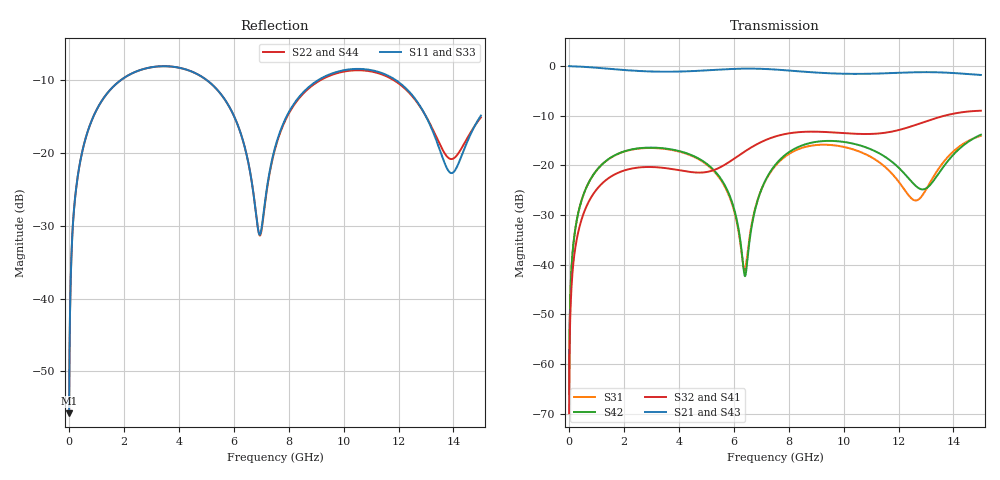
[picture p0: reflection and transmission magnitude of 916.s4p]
! Created with skrf 1.8.0 (http://scikit-rf.org).
# GHz S RI R 50.0
!freq ReS11 ImS11 ReS12 ImS12 ReS13 ImS13
! ReS14 ImS14
! ReS21 ImS21 ReS22 ImS22 ReS23 ImS23
! ReS24 ImS24
! ReS31 ImS31 ReS32 ImS32 ReS33 ImS33
! ReS34 ImS34
! ReS41 ImS41 ReS42 ImS42 ReS43 ImS43
! ReS44 ImS44
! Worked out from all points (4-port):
!   2499 points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, 5 MHz to 15 GHz, reference 50 ohm
!   strongest paths, dB at 5 MHz, 3.476 GHz, 7.19 GHz, 11.1 GHz, 15 GHz:
!     S21: 0.0, -1.1, -0.6, -1.5, -1.8
!     S43: 0.0, -1.1, -0.6, -1.5, -1.8
!     S32: -69.9, -20.5, -14.8, -13.6, -9.0
!     S41: -69.9, -20.5, -14.8, -13.6, -9.0
!     S42: -66.0, -16.6, -22.6, -17.0, -13.8
!     S31: -66.0, -16.7, -22.7, -18.6, -14.0
!   lowest |S11| = -55.8 dB at 5 MHz (marker M1), VSWR 1.00, Z = 50.1 + j0.099 ohm
!   |S11| at or under -10 dB: start of sweep to 1.871 GHz; 5.035 GHz to 9.058 GHz (4.023 GHz wide, 57.1 % of centre); 11.92 GHz to end of sweep
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0.005  0.0013 0.000988  0.9987 -0.00252  6.35e-05 0.000496  -6.18e-05 -0.000313
       0.9987 -0.00252  0.0013 0.000988  -6.18e-05 -0.000313  6.35e-05 0.000496
       6.35e-05 0.000496  -6.18e-05 -0.000313  0.0013 0.000987  0.9987 -0.00252
       -6.18e-05 -0.000313  6.35e-05 0.000496  0.9987 -0.00252  0.0013 0.000987
0.4126719  0.0246 0.0849  0.966 -0.2061  0.0112 0.0387  -0.00944 -0.0241
           0.966 -0.2061  0.0246 0.0849  -0.00943 -0.0241  0.0114 0.0386
           0.0112 0.0387  -0.00943 -0.0241  0.0246 0.0849  0.966 -0.2061
           -0.00944 -0.0241  0.0114 0.0386  0.966 -0.2061  0.0246 0.0849
1.925802  0.2645 0.1833  0.5635 -0.7234  0.1203 0.062  -0.087 -0.00846
          0.5635 -0.7234  0.2639 0.1836  -0.0869 -0.00858  0.1224 0.0593
          0.1203 0.062  -0.0869 -0.00858  0.2646 0.1832  0.5635 -0.7235
          -0.087 -0.00846  0.1224 0.0593  0.5635 -0.7235  0.2639 0.1837
6.40892  0.0499 -0.0964  -0.8954 -0.2973  -0.00885 0.000143  -0.0387 0.1331
         -0.8954 -0.2973  0.0503 -0.0963  -0.0408 0.1324  -0.00765 -0.000466
         -0.00885 0.000143  -0.0408 0.1324  0.0492 -0.0978  -0.8952 -0.2973
         -0.0387 0.1331  -0.00765 -0.000466  -0.8952 -0.2973  0.0518 -0.097
6.921634  0.0274 -0.00576  -0.9383 -0.0669  -3.41e-05 0.0496  -0.00631 0.1676
          -0.9383 -0.0669  0.027 -0.00654  -0.0089 0.1675  0.00569 0.049
          -3.41e-05 0.0496  -0.0089 0.1675  0.0262 -0.00686  -0.9383 -0.0669
          -0.00631 0.1676  0.00569 0.049  -0.9383 -0.0669  0.0284 -0.00774
10.97957  0.3669 -0.0684  0.0876 0.8335  0.0964 -0.0754  0.1952 -0.0728
          0.0876 0.8335  0.3614 -0.0528  0.196 -0.0678  0.096 -0.1099
          0.0964 -0.0754  0.196 -0.0678  0.3686 -0.0675  0.0886 0.833
          0.1952 -0.0728  0.096 -0.1099  0.0886 0.833  0.3615 -0.0548
15  0.1496 0.1025  0.7655 -0.2779  0.1133 0.1631  -0.1673 -0.3152
    0.7655 -0.2779  0.1546 0.0846  -0.1581 -0.3183  0.1495 0.1386
    0.1133 0.1631  -0.1581 -0.3183  0.1525 0.1012  0.765 -0.28
    -0.1673 -0.3152  0.1495 0.1386  0.765 -0.28  0.1503 0.0811
